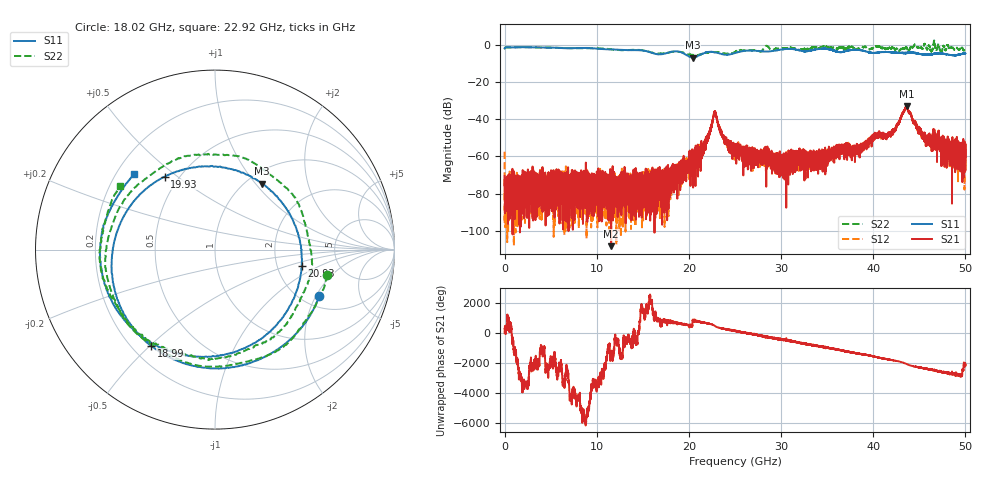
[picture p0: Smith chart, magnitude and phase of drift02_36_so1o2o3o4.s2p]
!Created with skrf (http://scikit-rf.org).
# Hz S RI R 50.0
!freq ReS11 ImS11 ReS21 ImS21 ReS12 ImS12 ReS22 ImS22
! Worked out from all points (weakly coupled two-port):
!   10001 points, 300 kHz to 50 GHz, reference 50 ohm
!   highest |S21| = -32.92 dB at 43.61 GHz (marker M1); lowest = -108.2 dB at 11.56 GHz (marker M2)
!   lowest |S11| = -6.9 dB at 20.43 GHz (marker M3), VSWR 2.64, Z = 58.4 + j53.8 ohm
!   |S11| at or under -10 dB: nowhere
!   |S22| runs from -5.7 to 2.3 dB; largest |S21 - S12| = 0.0036
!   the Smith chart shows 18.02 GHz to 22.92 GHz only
!   S11 on the Smith chart (normalised r, x): 18.02 GHz: 2.43, -2.13; 18.99 GHz: 0.28, -0.51; 19.93 GHz: 0.42, +0.45; 20.93 GHz: 2.75, -0.67; 22.92 GHz: 0.27, +0.37
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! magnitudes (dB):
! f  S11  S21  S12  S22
! 300 kHz  -2.0  -70.5  -57.5  -2.1
! 265.3 MHz  -1.4  -75.7  -82.7  -1.4
! 8.335 GHz  -1.7  -73.6  -77.6  -1.9
! 11.56 GHz  -2.6  -108.2  -100.8  -2.5
! 16.67 GHz  -5.2  -74.8  -73.8  -4.7
! 18.02 GHz  -3.9  -68.2  -72.1  -3.9
! 18.99 GHz  -3.8  -68.6  -66.8  -3.9
! 19.93 GHz  -6.1  -64.8  -62.9  -5.2
! 20.43 GHz  -6.9  -61.9  -57.3  -5.4
! 20.93 GHz  -6.2  -63.0  -58.2  -5.6
! 21.71 GHz  -4.4  -52.1  -52.7  -4.6
! 22.92 GHz  -4.2  -37.3  -37.1  -3.9
! 23.77 GHz  -5.3  -49.2  -50.4  -4.6
! 25 GHz  -4.5  -56.6  -56.1  -3.9
! 30.01 GHz  -2.6  -68.2  -61.0  -2.1
! 33.34 GHz  -3.0  -61.3  -63.3  -1.6
! 38.2 GHz  -2.8  -54.6  -57.2  -2.5
! 40.29 GHz  -4.4  -48.8  -49.3  -0.9
! 41.67 GHz  -4.0  -48.3  -48.8  -1.9
! 43.61 GHz  -4.5  -32.9  -33.3  -1.7
! 45.61 GHz  -5.4  -49.3  -49.2  0.5
! 50 GHz  -4.7  -60.4  -56.1  -2.7
